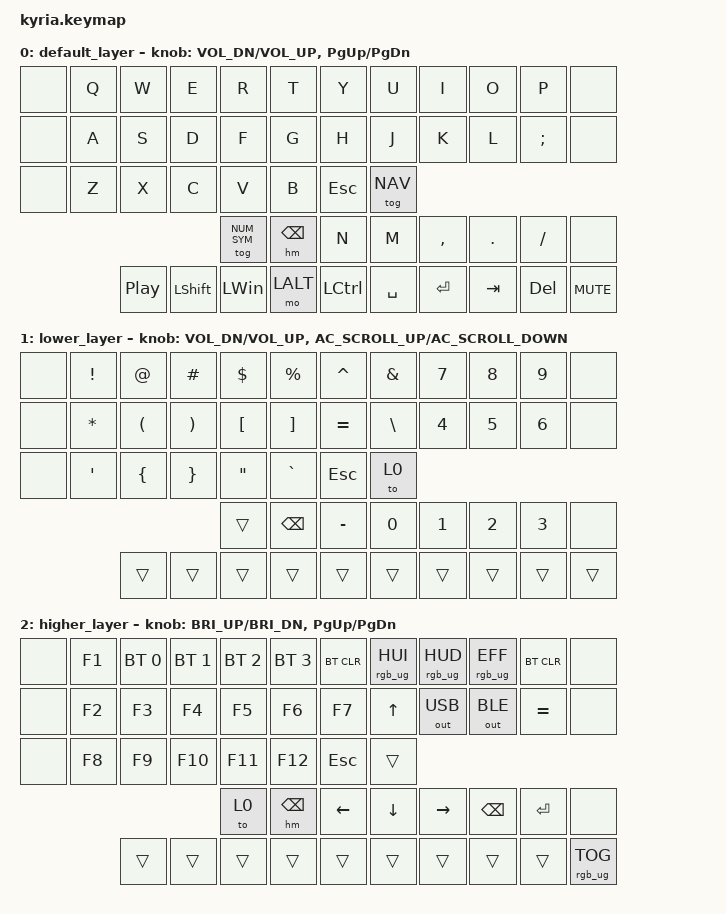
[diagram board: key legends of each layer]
#include <behaviors.dtsi>
#include <dt-bindings/zmk/keys.h>

#define DEFAULT 0
#define LOWER   1
#define HIGHER  2

/ {
	keymap {
		compatible = "zmk,keymap";

		default_layer {
// ---------------------------------------------------------------------------------------------------------------------------------
// |  ESC  |  Q  |  W  |  E   |  R   |  T   |                                          |  Y   |  U    |  I    |  O   |   P   |   \  |
// |  TAB  |  A  |  S  |  D   |  F   |  G   |                                          |  H   |  J    |  K    |  L   |   ;   |   '  |
// | SHIFT |  Z  |  X  |  C   |  V   |  B   | L SHIFT | L SHIFT |  | L SHIFT | L SHIFT |  N   |  M    |  ,    |  .   |   /   | CTRL |
//                     | GUI  | DEL  | RET  |  SPACE  |   ESC   |  |   RET   |  SPACE  | TAB  | BSPC  | R-ALT |
			bindings = <
	&none &kp Q       &kp W       &kp E       &kp R         &kp T            &kp Y     &kp U      &kp I         &kp O         &kp P             &none
    &none &kp A       &kp S       &kp D       &kp F         &kp G            &kp H     &kp J      &kp K         &kp L         &kp SEMI          &none
    &none &kp Z       &kp X       &kp C       &kp V         &kp B            &kp ESC   &tog NAV
                                              &tog NUM_SYM  &hm BSPC         &kp N     &kp M      &kp COMMA     &kp DOT       &kp FSLH          &none
	                  &kp C_PP    &kp LSHIFT  &kp LWIN      &mo LALT         &kp LCTRL &kp SPACE  &kp RET       &kp TAB       &kp DEL           &kp C_MUTE
			>;

			sensor-bindings = <&inc_dec_kp C_VOL_DN C_VOL_UP &inc_dec_kp PG_UP PG_DN>;
		};
		
		lower_layer {
			bindings = <
	&none &kp EXCL    &kp AT      &kp HASH     &kp DOLLAR    &kp PRCNT        &kp CARET  &kp AMPS     &kp N7        &kp N8          &kp N9     &none
    &none &kp ASTRK   &kp LPAR    &kp RPAR     &kp LBKT      &kp RBKT         &kp EQUAL  &kp BSLH     &kp N4        &kp N5          &kp N6     &none
    &none &kp SQT     &kp LBRC    &kp RBRC     &kp DQT       &kp GRAVE        &kp ESC    &to 0
                                               &trans        &kp BSPC         &kp MINUS  &kp N0       &kp N1        &kp N2          &kp N3     &none
	                  &trans      &trans       &trans        &trans           &trans     &trans       &trans        &trans          &trans     &trans    
			>;

			sensor-bindings = <&inc_dec_kp C_VOL_DN C_VOL_UP &inc_dec_kp C_AC_SCROLL_UP C_AC_SCROLL_DOWN>;
		};
		
		higher_layer {
			bindings = <
    &none &kp F1      &bt BT_SEL 0  &bt BT_SEL 1 &bt BT_SEL 2  &bt BT_SEL 3    &bt BT_CLR   &rgb_ug RGB_HUI  &rgb_ug RGB_HUD   &rgb_ug RGB_EFF  &bt BT_CLR &none
    &none &kp F2      &kp F3        &kp F4       &kp F5        &kp F6          &kp F7      &kp UP           &out OUT_USB      &out OUT_BLE     &kp EQUAL  &none
    &none &kp F8      &kp F9        &kp F10      &kp F11       &kp F12         &kp ESC      &trans
                                                 &to 0         &hm BSPC        &kp LEFT     &kp DOWN         &kp RIGHT         &kp BSPC         &kp RET    &none
	                  &trans        &trans       &trans        &trans          &trans       &trans           &trans       &trans                &trans     &rgb_ug RGB_TOG
			>;

			sensor-bindings = <&inc_dec_kp C_BRI_UP C_BRI_DN &inc_dec_kp PG_UP PG_DN>;
		};	
	};
};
